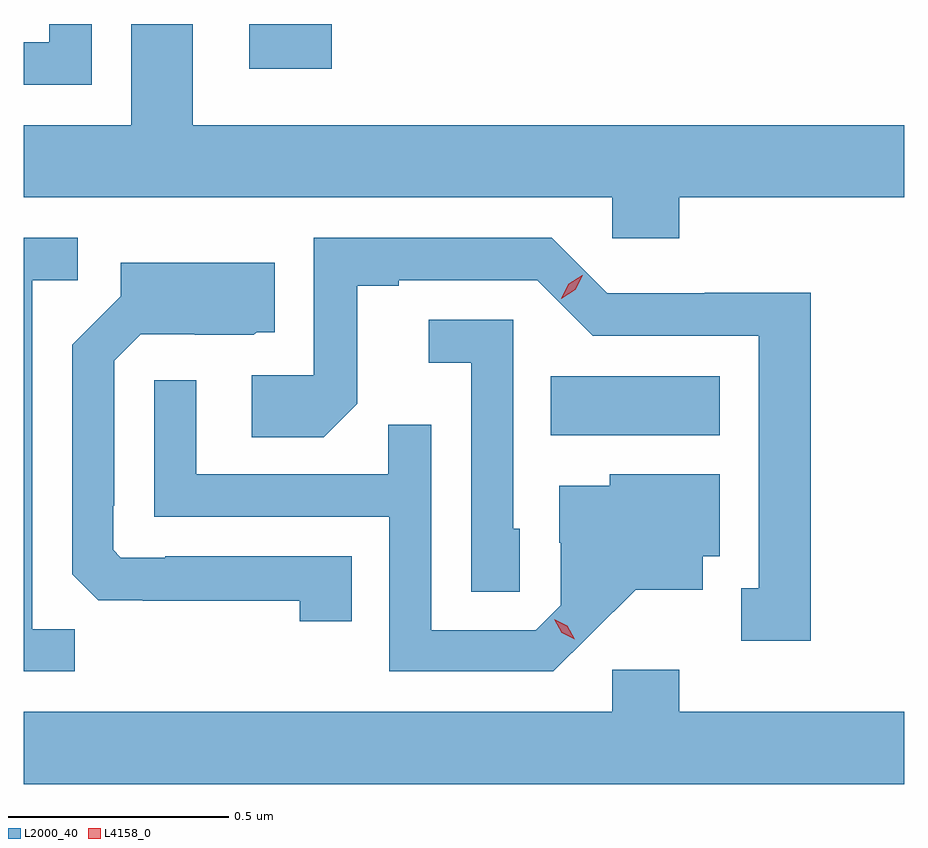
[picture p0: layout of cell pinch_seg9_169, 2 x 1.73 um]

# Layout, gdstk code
import gdstk
lib = gdstk.Library(unit=1e-6, precision=1e-09)
def R(c, l, rs):  # rectangles x0, y0, x1, y1
    for r in rs: c.add(gdstk.rectangle(r[:2], r[2:], *l))
def P(c, l, *ps):  # polygons
    for p in ps: c.add(gdstk.Polygon(p, *l))
L2000_40 = (2000, 40)
L4158_0 = (4158, 0)

pinch_seg9_169 = lib.new_cell('pinch_seg9_169')
R(pinch_seg9_169, L2000_40, [(648.19,1175.9,648.574,1176.034), (647.505,1176.732,647.693,1176.834)])
P(pinch_seg9_169, L2000_40, [(648.482,1176.44),(648.993,1176.44),(648.993,1176.604),(647.377,1176.604),(647.377,1176.834),(647.237,1176.834),(647.237,1176.604),(646.993,1176.604),(646.993,1176.44),(648.33,1176.44),(648.33,1176.347),(648.482,1176.347)],
  [(647.148,1176.834),(647.051,1176.834),(647.051,1176.792),(646.993,1176.792),(646.993,1176.696),(647.148,1176.696)],
  [(647.109,1175.459),(647.013,1175.459),(647.013,1176.252),(647.116,1176.252),(647.116,1176.348),(646.993,1176.348),(646.993,1175.364),(647.109,1175.364)],
  [(648.781,1176.224),(648.54,1176.224),(648.54,1176.222),(648.318,1176.222),(648.192,1176.348),(647.652,1176.348),(647.652,1176.036),(647.511,1176.036),(647.511,1175.896),(647.675,1175.896),(647.751,1175.972),(647.751,1176.24),(647.845,1176.24),(647.845,1176.252),(648.159,1176.252),(648.285,1176.126),(648.662,1176.126),(648.662,1175.553),(648.623,1175.553),(648.623,1175.433),(648.781,1175.433)],
  [(647.738,1175.625),(647.314,1175.625),(647.314,1175.622),(647.214,1175.622),(647.196,1175.64),(647.196,1175.74),(647.199,1175.74),(647.199,1176.069),(647.259,1176.129),(647.382,1176.129),(647.382,1176.128),(647.516,1176.128),(647.522,1176.134),(647.563,1176.134),(647.563,1176.292),(647.213,1176.292),(647.213,1176.216),(647.103,1176.106),(647.103,1175.584),(647.162,1175.525),(647.263,1175.525),(647.263,1175.524),(647.62,1175.524),(647.62,1175.478),(647.738,1175.478)],
  [(648.12,1175.688),(648.105,1175.688),(648.105,1176.162),(647.913,1176.162),(647.913,1176.065),(648.009,1176.065),(648.009,1175.545),(648.12,1175.545)],
  [(648.28,1175.447),(648.383,1175.549),(648.535,1175.549),(648.535,1175.625),(648.574,1175.625),(648.574,1175.812),(648.324,1175.812),(648.324,1175.785),(648.209,1175.785),(648.209,1175.656),(648.213,1175.656),(648.213,1175.514),(648.156,1175.457),(647.919,1175.457),(647.919,1175.924),(647.821,1175.924),(647.821,1175.811),(647.385,1175.811),(647.385,1176.025),(647.289,1176.025),(647.289,1175.715),(647.823,1175.715),(647.823,1175.364),(648.196,1175.364)],
  [(648.993,1175.272),(648.482,1175.272),(648.482,1175.368),(648.33,1175.368),(648.33,1175.272),(646.993,1175.272),(646.993,1175.108),(648.993,1175.108)])
P(pinch_seg9_169, L4158_0, [(648.214,1176.21),(648.214,1176.211),(648.231,1176.244),(648.262,1176.263),(648.263,1176.263),(648.263,1176.263),(648.246,1176.23),(648.214,1176.21)],
  [(648.245,1175.437),(648.215,1175.452),(648.198,1175.482),(648.198,1175.482),(648.198,1175.482),(648.228,1175.467),(648.245,1175.437),(648.245,1175.437)])

lib.write_gds('pinch_seg9_169.gds')
